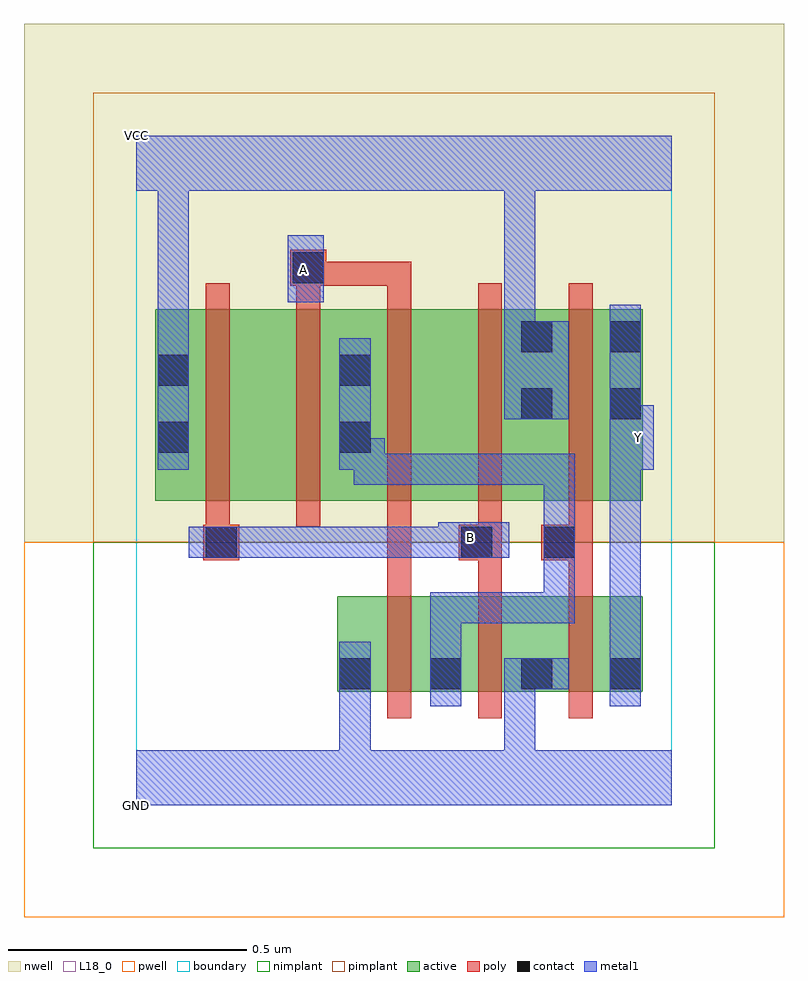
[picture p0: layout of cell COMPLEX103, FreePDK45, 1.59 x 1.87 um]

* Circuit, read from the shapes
.subckt COMPLEX103 A B GND VCC Y
M1 n1 A GND VSUBS nfet w=0.2u l=0.05u
M2 GND B n1 VSUBS nfet w=0.2u l=0.05u
M3 Y n1 GND VSUBS nfet w=0.2u l=0.05u
M4 n2 B VCC n3 pfet w=0.4u l=0.05u
M5 n1 A n2 n3 pfet w=0.4u l=0.05u
M6 n4 A n1 n3 pfet w=0.4u l=0.05u
M7 VCC B n4 n3 pfet w=0.4u l=0.05u
M8 Y n1 VCC n3 pfet w=0.4u l=0.05u
.ends

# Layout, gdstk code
import gdstk
lib = gdstk.Library(unit=1e-6, precision=1e-09)
def R(c, l, rs):  # rectangles x0, y0, x1, y1
    for r in rs: c.add(gdstk.rectangle(r[:2], r[2:], *l))
def A(c, l, x, y, w, h, nx, ny, dx, dy):  # array of equal rectangles
    R(c, l, [(x+i*dx, y+j*dy, x+i*dx+w, y+j*dy+h) for i in range(nx) for j in range(ny)])
active = (1, 0)
pwell = (2, 0)
nwell = (3, 0)
nimplant = (4, 0)
pimplant = (5, 0)
poly = (9, 0)
contact = (10, 0)
metal1 = (11, 0)
L18_0 = (18, 0)
boundary = (235, 0)

complex103 = lib.new_cell('COMPLEX103')
R(complex103, active, [(0.42,0.237,0.495,0.437), (0.42,0.237,0.685,0.437), (0.61,0.237,0.875,0.437), (0.61,0.237,0.685,0.312), (0.8,0.237,0.875,0.437), (0.8,0.237,1.06,0.437), (0.985,0.237,1.06,0.437), (0.04,0.637,0.265,1.037), (0.04,0.637,0.115,1.037), (0.265,0.637,0.495,1.037), (0.42,0.637,0.645,1.037), (0.645,0.637,0.875,1.037), (0.8,0.637,1.06,1.037), (0.985,0.637,1.06,1.017), (0.8,0.642,0.875,1.037), (0.42,0.675,0.495,1.037)])
R(complex103, pwell, [(-0.235,-0.235,1.355,0.55)])
R(complex103, nwell, [(-0.235,0.55,1.355,1.635)])
R(complex103, nimplant, [(-0.09,-0.09,1.21,0.55)])
R(complex103, pimplant, [(-0.09,0.55,1.21,1.49)])
A(complex103, poly, 0.525, 0.182, 0.05, 0.31, 3, 1, 0.19, 0)
A(complex103, poly, 0.525, 0.537, 0.05, 0.095, 3, 1, 0.19, 0)
A(complex103, poly, 0.145, 0.582, 0.05, 0.51, 5, 1, 0.19, 0)
R(complex103, poly, [(0.525,0.442,0.575,0.587), (0.715,0.442,0.765,0.562), (0.905,0.442,0.955,0.562), (0.14,0.512,0.215,0.587), (0.675,0.512,0.765,0.587), (0.847,0.512,0.955,0.587), (0.145,0.537,0.195,0.632), (0.525,0.537,0.575,0.587), (0.335,1.042,0.385,1.137), (0.525,1.042,0.575,1.137), (0.322,1.087,0.397,1.162), (0.347,1.087,0.575,1.137), (0.525,1.087,0.575,1.137), (0.525,1.087,0.575,1.137), (0.525,1.087,0.575,1.137)])
A(complex103, contact, 0.425, 0.242, 0.065, 0.065, 3, 1, 0.19, 0)
R(complex103, contact, [(0.99,0.242,1.055,0.307), (0.145,0.517,0.21,0.582), (0.68,0.517,0.745,0.582), (0.852,0.517,0.917,0.582), (0.045,0.737,0.11,0.802), (0.425,0.737,0.49,0.802), (0.805,0.807,0.87,0.872), (0.99,0.807,1.055,0.872), (0.045,0.877,0.11,0.942), (0.425,0.877,0.49,0.942), (0.805,0.947,0.87,1.012), (0.99,0.947,1.055,1.012), (0.327,1.092,0.392,1.157)])
R(complex103, metal1, [(0,0,1.12,0.115), (0.425,0.05,0.49,0.272), (0.77,0.05,0.835,0.307), (0.425,0.207,0.49,0.272), (0.425,0.207,0.49,0.272), (0.425,0.207,0.49,0.342), (0.615,0.207,0.68,0.342), (0.99,0.207,1.055,0.342), (0.77,0.242,0.835,0.307), (0.77,0.242,0.835,0.307), (0.77,0.242,0.905,0.307), (0.615,0.277,0.68,0.342), (0.615,0.277,0.68,0.445), (0.99,0.277,1.055,0.767), (0.615,0.38,0.917,0.445), (0.852,0.38,0.917,0.445), (0.852,0.38,0.917,0.547), (0.852,0.482,0.917,0.547), (0.852,0.482,0.917,0.547), (0.852,0.482,0.917,0.617), (0.852,0.482,0.917,0.735), (0.11,0.517,0.245,0.582), (0.18,0.517,0.245,0.582), (0.18,0.517,0.245,0.582), (0.18,0.517,0.382,0.582), (0.317,0.517,0.382,0.582), (0.317,0.517,0.382,0.582), (0.317,0.517,0.382,0.582), (0.317,0.517,0.52,0.582), (0.455,0.517,0.52,0.582), (0.455,0.517,0.697,0.582), (0.632,0.517,0.697,0.582), (0.632,0.517,0.697,0.582), (0.632,0.517,0.78,0.592), (0.455,0.67,0.697,0.735), (0.455,0.67,0.52,0.767), (0.632,0.67,0.697,0.735), (0.632,0.67,0.697,0.735), (0.632,0.67,0.697,0.735), (0.632,0.67,0.917,0.735), (0.852,0.67,0.917,0.735), (0.045,0.702,0.11,0.977), (0.425,0.702,0.49,0.977), (0.425,0.702,0.52,0.767), (0.99,0.702,1.082,0.837), (0.99,0.772,1.055,0.837), (0.99,0.772,1.055,1.047), (0.77,0.807,0.905,1.012), (0.045,0.912,0.11,0.977), (0.045,0.912,0.11,0.977), (0.045,0.912,0.11,0.977), (0.045,0.912,0.11,0.977), (0.045,0.912,0.11,1.35), (0.77,0.947,0.835,1.012), (0.77,0.947,0.835,1.012), (0.77,0.947,0.835,1.012), (0.77,0.947,0.835,1.012), (0.77,0.947,0.835,1.35), (0.317,1.052,0.392,1.192), (0,1.285,1.12,1.4)])
R(complex103, L18_0, [(0,0,1.12,0.115), (0.425,0.05,0.49,0.272), (0.77,0.05,0.835,0.307), (0.425,0.207,0.49,0.272), (0.425,0.207,0.49,0.272), (0.425,0.207,0.49,0.342), (0.99,0.207,1.055,0.342), (0.77,0.242,0.835,0.307), (0.77,0.242,0.835,0.307), (0.77,0.242,0.905,0.307), (0.99,0.277,1.055,0.767), (0.11,0.517,0.245,0.582), (0.18,0.517,0.245,0.582), (0.18,0.517,0.245,0.582), (0.18,0.517,0.382,0.582), (0.317,0.517,0.382,0.582), (0.317,0.517,0.382,0.582), (0.317,0.517,0.382,0.582), (0.317,0.517,0.52,0.582), (0.455,0.517,0.52,0.582), (0.455,0.517,0.697,0.582), (0.632,0.517,0.697,0.582), (0.632,0.517,0.697,0.582), (0.632,0.517,0.78,0.592), (0.667,0.527,0.732,0.592), (0.045,0.702,0.11,0.977), (0.99,0.702,1.082,0.837), (1.017,0.737,1.082,0.802), (0.99,0.772,1.055,1.047), (0.99,0.772,1.055,0.837), (0.77,0.807,0.905,1.012), (0.045,0.912,0.11,0.977), (0.045,0.912,0.11,0.977), (0.045,0.912,0.11,0.977), (0.045,0.912,0.11,0.977), (0.045,0.912,0.11,1.35), (0.77,0.947,0.835,1.012), (0.77,0.947,0.835,1.012), (0.77,0.947,0.835,1.012), (0.77,0.947,0.835,1.012), (0.77,0.947,0.835,1.35), (0.317,1.052,0.392,1.192), (0.317,1.087,0.382,1.152), (0,1.285,1.12,1.4)])
R(complex103, boundary, [(0,0,1.12,1.4)])
complex103.add(gdstk.Label('A', (0.35,1.12), layer=11, texttype=0))
complex103.add(gdstk.Label('B', (0.7,0.56), layer=11, texttype=0))
complex103.add(gdstk.Label('Y', (1.05,0.77), layer=11, texttype=0))
complex103.add(gdstk.Label('VCC', (0,1.4), layer=11, texttype=0))
complex103.add(gdstk.Label('GND', (0,0), layer=11, texttype=0))

lib.write_gds('COMPLEX103.gds')
